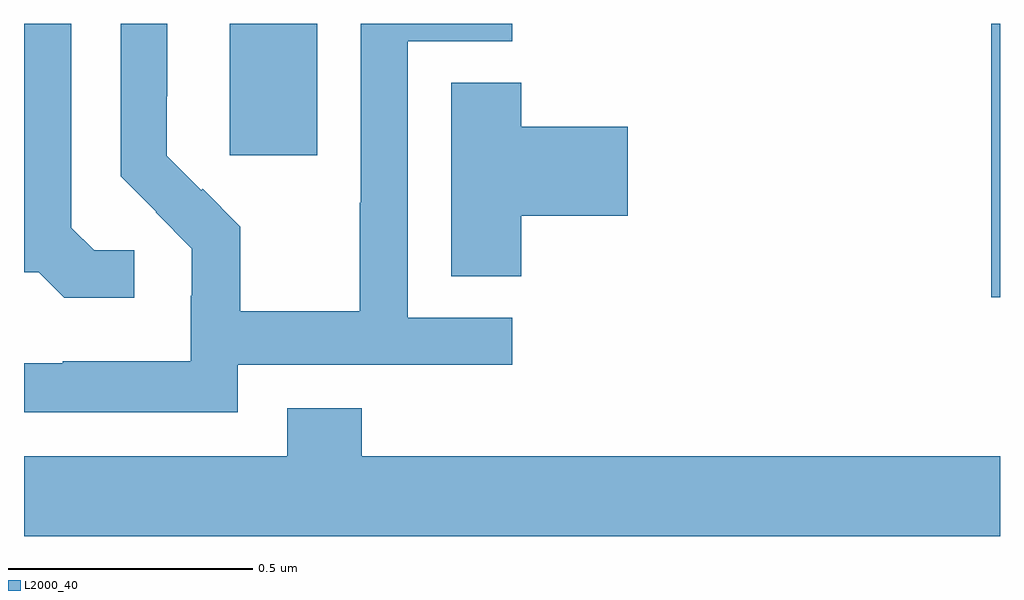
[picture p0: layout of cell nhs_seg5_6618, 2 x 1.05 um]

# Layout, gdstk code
import gdstk
lib = gdstk.Library(unit=1e-6, precision=1e-09)
def R(c, l, rs):  # rectangles x0, y0, x1, y1
    for r in rs: c.add(gdstk.rectangle(r[:2], r[2:], *l))
def P(c, l, *ps):  # polygons
    for p in ps: c.add(gdstk.Polygon(p, *l))
L2000_40 = (2000, 40)

nhs_seg5_6618 = lib.new_cell('nhs_seg5_6618')
R(nhs_seg5_6618, L2000_40, [(199.982,869.238,200,869.799), (198.422,869.529,198.601,869.799)])
P(nhs_seg5_6618, L2000_40, [(198.438,869.1),(199,869.1),(199,869.196),(198.786,869.196),(198.786,869.763),(199,869.763),(199,869.799),(198.69,869.799),(198.69,869.432),(198.688,869.432),(198.688,869.209),(198.443,869.209),(198.443,869.383),(198.366,869.46),(198.363,869.457),(198.293,869.528),(198.293,869.65),(198.294,869.65),(198.294,869.799),(198.198,869.799),(198.198,869.486),(198.271,869.413),(198.27,869.412),(198.344,869.338),(198.344,869.241),(198.342,869.241),(198.342,869.107),(198.079,869.107),(198.079,869.103),(198,869.103),(198,869.003),(198.438,869.003)],
  [(198.226,869.334),(198.144,869.334),(198.097,869.381),(198.097,869.799),(198,869.799),(198,869.289),(198.03,869.289),(198.082,869.237),(198.226,869.237)],
  [(199.019,869.405),(199.237,869.405),(199.237,869.588),(199.019,869.588),(199.019,869.678),(198.875,869.678),(198.875,869.281),(199.019,869.281)],
  [(200,868.912),(198.692,868.912),(198.692,869.011),(198.539,869.011),(198.539,868.912),(198,868.912),(198,868.748),(200,868.748)])

lib.write_gds('nhs_seg5_6618.gds')
